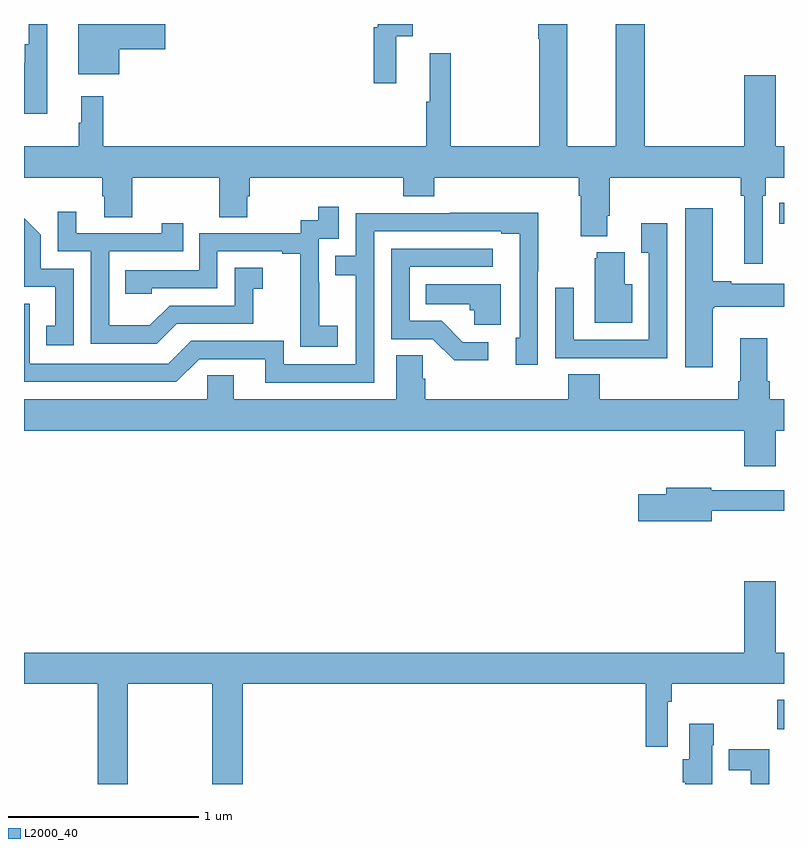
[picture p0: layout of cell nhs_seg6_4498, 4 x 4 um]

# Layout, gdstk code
import gdstk
lib = gdstk.Library(unit=1e-6, precision=1e-09)
def R(c, l, rs):  # rectangles x0, y0, x1, y1
    for r in rs: c.add(gdstk.rectangle(r[:2], r[2:], *l))
def P(c, l, *ps):  # polygons
    for p in ps: c.add(gdstk.Polygon(p, *l))
L2000_40 = (2000, 40)

nhs_seg6_4498 = lib.new_cell('nhs_seg6_4498')
R(nhs_seg6_4498, L2000_40, [(380.965,921.787,381,921.943), (380.974,924.45,381,924.558)])
P(nhs_seg6_4498, L2000_40, [(380.889,924.596),(380.903,924.596),(380.903,924.692),(381,924.692),(381,924.856),(380.956,924.856),(380.956,925.231),(380.792,925.231),(380.792,924.856),(380.267,924.856),(380.267,925.5),(380.114,925.5),(380.114,924.856),(379.858,924.856),(379.858,925.5),(379.706,925.5),(379.706,925.423),(379.711,925.423),(379.711,924.856),(379.246,924.856),(379.246,925.345),(379.136,925.345),(379.136,925.092),(379.117,925.092),(379.117,924.856),(377.417,924.856),(377.417,925.12),(377.3,925.12),(377.3,924.98),(377.289,924.98),(377.289,924.856),(377,924.856),(377,924.692),(377.411,924.692),(377.411,924.594),(377.423,924.594),(377.423,924.484),(377.571,924.484),(377.571,924.692),(378.028,924.692),(378.028,924.484),(378.175,924.484),(378.175,924.594),(378.188,924.594),(378.188,924.692),(378.995,924.692),(378.995,924.593),(379.16,924.593),(379.16,924.692),(379.919,924.692),(379.919,924.596),(379.931,924.596),(379.931,924.383),(380.071,924.383),(380.071,924.49),(380.084,924.49),(380.084,924.692),(380.773,924.692),(380.773,924.596),(380.792,924.596),(380.792,924.237),(380.889,924.237)],
  [(377.5,925.367),(377.743,925.367),(377.743,925.5),(377.285,925.5),(377.285,925.235),(377.5,925.235)],
  [(378.959,925.436),(379.045,925.436),(379.045,925.5),(378.861,925.5),(378.861,925.484),(378.841,925.484),(378.841,925.188),(378.959,925.188)],
  [(377.122,925.5),(377.025,925.5),(377.025,925.393),(377.005,925.393),(377.005,925.297),(377,925.297),(377,925.028),(377.122,925.028)],
  [(378.652,923.911),(378.554,923.911),(378.554,924.14),(378.552,924.14),(378.552,924.369),(378.657,924.369),(378.657,924.538),(378.549,924.538),(378.549,924.468),(378.456,924.468),(378.456,924.399),(377.922,924.399),(377.922,924.204),(377.533,924.204),(377.533,924.081),(377.673,924.081),(377.673,924.108),(378.018,924.108),(378.018,924.303),(378.359,924.303),(378.359,924.291),(378.455,924.291),(378.455,924.007),(378.454,924.007),(378.454,923.801),(378.652,923.801)],
  [(380.626,924.004),(380.634,924.004),(380.634,924.011),(381,924.011),(381,924.133),(380.722,924.133),(380.722,924.146),(380.626,924.146),(380.626,924.529),(380.48,924.529),(380.48,923.694),(380.626,923.694)],
  [(377.803,923.922),(378.207,923.922),(378.207,924.107),(378.256,924.107),(378.256,924.217),(378.108,924.217),(378.108,924.018),(377.766,924.018),(377.662,923.914),(377.448,923.914),(377.448,924.303),(377.837,924.303),(377.837,924.451),(377.726,924.451),(377.726,924.399),(377.275,924.399),(377.275,924.511),(377.178,924.511),(377.178,924.303),(377.352,924.303),(377.352,923.817),(377.698,923.817)],
  [(378.843,924.408),(379.511,924.408),(379.511,924.396),(379.608,924.396),(379.608,923.85),(379.589,923.85),(379.589,923.706),(379.704,923.706),(379.704,924.199),(379.707,924.199),(379.707,924.506),(379.243,924.506),(379.243,924.504),(378.747,924.504),(378.747,924.279),(378.637,924.279),(378.637,924.178),(378.747,924.178),(378.747,923.709),(378.366,923.709),(378.366,923.832),(377.88,923.832),(377.76,923.712),(377.031,923.712),(377.031,924.027),(377,924.027),(377,923.616),(377.802,923.616),(377.922,923.736),(378.269,923.736),(378.269,923.613),(378.843,923.613)],
  [(377.262,924.213),(377.088,924.213),(377.088,924.39),(377,924.478),(377,924.117),(377.165,924.117),(377.165,923.913),(377.116,923.913),(377.116,923.808),(377.262,923.808)],
  [(380.385,924.451),(380.249,924.451),(380.249,924.295),(380.289,924.295),(380.289,923.838),(379.893,923.838),(379.893,924.112),(379.797,924.112),(379.797,923.742),(380.113,923.742),(380.113,923.741),(380.385,923.741)],
  [(379.444,923.826),(379.309,923.826),(379.198,923.937),(379.029,923.937),(379.029,924.222),(379.468,924.222),(379.468,924.318),(378.933,924.318),(378.933,923.841),(379.152,923.841),(379.265,923.729),(379.444,923.729)],
  [(380.2,924.13),(380.161,924.13),(380.161,924.298),(380.015,924.298),(380.015,924.267),(380.003,924.267),(380.003,923.927),(380.2,923.927)],
  [(379.51,924.13),(379.114,924.13),(379.114,924.026),(379.345,924.026),(379.345,923.994),(379.371,923.994),(379.371,923.918),(379.51,923.918)],
  [(380.956,923.36),(381,923.36),(381,923.524),(380.924,923.524),(380.924,923.62),(380.911,923.62),(380.911,923.845),(380.771,923.845),(380.771,923.62),(380.759,923.62),(380.759,923.524),(380.03,923.524),(380.03,923.657),(379.865,923.657),(379.865,923.524),(379.112,923.524),(379.112,923.633),(379.098,923.633),(379.098,923.756),(378.959,923.756),(378.959,923.524),(378.103,923.524),(378.103,923.651),(377.964,923.651),(377.964,923.524),(377,923.524),(377,923.36),(380.792,923.36),(380.792,923.172),(380.956,923.172)],
  [(380.62,922.938),(381,922.938),(381,923.046),(380.616,923.046),(380.616,923.059),(380.381,923.059),(380.381,923.025),(380.232,923.025),(380.232,922.883),(380.62,922.883)],
  [(377.547,922.028),(377.992,922.028),(377.992,921.5),(378.152,921.5),(378.152,922.028),(380.272,922.028),(380.272,921.696),(380.388,921.696),(380.388,921.932),(380.408,921.932),(380.408,922.028),(381,922.028),(381,922.192),(380.956,922.192),(380.956,922.567),(380.792,922.567),(380.792,922.192),(377,922.192),(377,922.028),(377.387,922.028),(377.387,921.5),(377.547,921.5)],
  [(380.623,921.704),(380.631,921.704),(380.631,921.817),(380.501,921.817),(380.501,921.63),(380.468,921.63),(380.468,921.508),(380.48,921.508),(380.48,921.5),(380.623,921.5)],
  [(380.922,921.682),(380.709,921.682),(380.709,921.573),(380.826,921.573),(380.826,921.5),(380.922,921.5)])

lib.write_gds('nhs_seg6_4498.gds')
